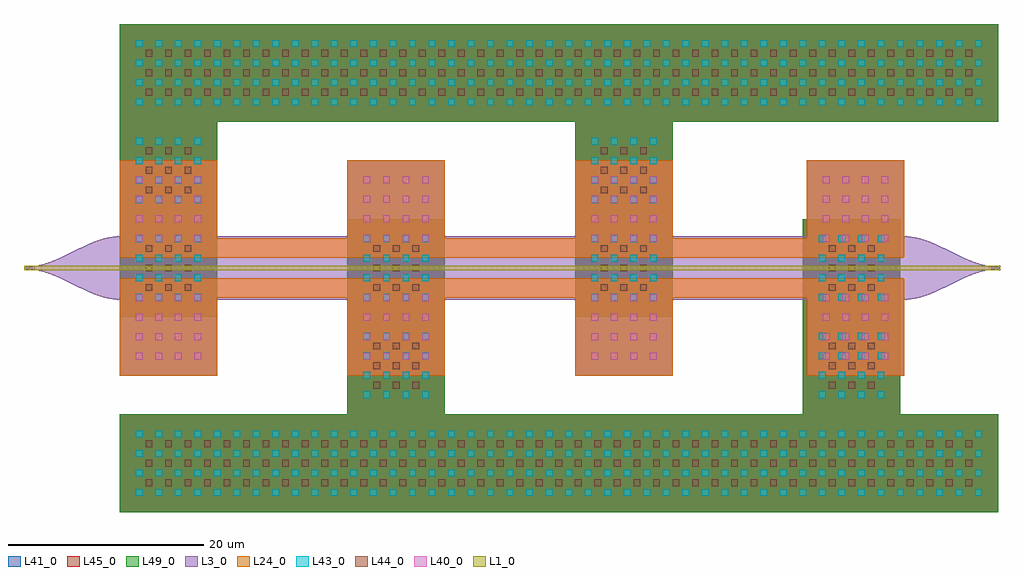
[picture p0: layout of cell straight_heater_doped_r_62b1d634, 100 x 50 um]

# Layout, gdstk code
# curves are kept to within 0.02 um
import gdstk
lib = gdstk.Library(unit=1e-6, precision=1e-09)
def R(c, l, rs):  # rectangles x0, y0, x1, y1
    for r in rs: c.add(gdstk.rectangle(r[:2], r[2:], *l))
def A(c, l, x, y, w, h, nx, ny, dx, dy):  # array of equal rectangles
    R(c, l, [(x+i*dx, y+j*dy, x+i*dx+w, y+j*dy+h) for i in range(nx) for j in range(ny)])
def P(c, l, *ps):  # polygons
    for p in ps: c.add(gdstk.Polygon(p, *l))
L1_0 = (1, 0)
L3_0 = (3, 0)
L24_0 = (24, 0)
L40_0 = (40, 0)
L41_0 = (41, 0)
L43_0 = (43, 0)
L44_0 = (44, 0)
L45_0 = (45, 0)
L49_0 = (49, 0)

straight_heater_doped_r_ = lib.new_cell('straight_heater_doped_r_62b1d634')
R(straight_heater_doped_r_, L1_0, [(-10,-0.25,90,0.25)])
P(straight_heater_doped_r_, L3_0, [(-0.2,-11.05),(-0.2,-3.247),(-0.808,-3.2),(-1.313,-3.118),(-1.919,-2.972),(-2.626,-2.744),(-3.838,-2.237),(-6.566,-0.931),(-7.778,-0.468),(-8.889,-0.195),(-9.394,-0.128),(-10,-0.1),(-10,0.1),(-9.394,0.128),(-8.687,0.232),(-7.98,0.407),(-7.172,0.682),(-5.96,1.207),(-3.636,2.329),(-2.424,2.815),(-1.313,3.118),(-0.808,3.2),(-0.2,3.247),(-0.2,11.05),(9.8,11.05),(9.8,3.25),(23.133,3.25),(23.133,11.05),(33.133,11.05),(33.133,3.25),(46.466,3.25),(46.466,11.05),(56.466,11.05),(56.466,3.25),(70.199,3.25),(70.199,11.05),(80.199,11.05),(80.199,3.247),(80.808,3.2),(81.313,3.118),(81.919,2.972),(82.626,2.744),(83.838,2.237),(86.566,0.931),(87.778,0.468),(88.889,0.195),(89.394,0.128),(90,0.1),(90,-0.1),(89.394,-0.128),(88.687,-0.232),(87.98,-0.407),(87.172,-0.682),(85.96,-1.207),(83.636,-2.329),(82.424,-2.815),(81.313,-3.118),(80.808,-3.2),(80.199,-3.247),(80.199,-11.05),(70.199,-11.05),(70.199,-3.25),(56.466,-3.25),(56.466,-11.05),(46.466,-11.05),(46.466,-3.25),(33.133,-3.25),(33.133,-11.05),(23.133,-11.05),(23.133,-3.25),(9.8,-3.25),(9.8,-11.05)])
P(straight_heater_doped_r_, L24_0, [(-0.2,-11.05),(-0.2,-1.05),(80.199,-1.05),(80.199,-11.05),(70.199,-11.05),(70.199,-3.05),(56.466,-3.05),(56.466,-11.05),(46.466,-11.05),(46.466,-3.05),(33.133,-3.05),(33.133,-11.05),(23.133,-11.05),(23.133,-3.05),(9.8,-3.05),(9.8,-11.05)],
  [(-0.2,1.05),(-0.2,11.05),(9.8,11.05),(9.8,3.05),(23.133,3.05),(23.133,11.05),(33.133,11.05),(33.133,3.05),(46.466,3.05),(46.466,11.05),(56.466,11.05),(56.466,3.05),(70.199,3.05),(70.199,11.05),(80.199,11.05),(80.199,1.05)])
A(straight_heater_doped_r_, L40_0, 1.45, -9.4, 0.7, 0.7, 4, 4, 2, 2)
A(straight_heater_doped_r_, L40_0, 24.783, -9.4, 0.7, 0.7, 4, 4, 2, 2)
A(straight_heater_doped_r_, L40_0, 48.116, -9.4, 0.7, 0.7, 4, 4, 2, 2)
A(straight_heater_doped_r_, L40_0, 71.849, -9.4, 0.7, 0.7, 4, 4, 2, 2)
A(straight_heater_doped_r_, L40_0, 1.45, 2.7, 0.7, 0.7, 4, 4, 2, 2)
A(straight_heater_doped_r_, L40_0, 24.783, 2.7, 0.7, 0.7, 4, 4, 2, 2)
A(straight_heater_doped_r_, L40_0, 48.116, 2.7, 0.7, 0.7, 4, 4, 2, 2)
A(straight_heater_doped_r_, L40_0, 71.849, 2.7, 0.7, 0.7, 4, 4, 2, 2)
P(straight_heater_doped_r_, L41_0, [(-0.2,-25),(-0.2,-15),(23.133,-15),(23.133,11.05),(33.133,11.05),(33.133,-15),(69.799,-15),(69.799,5),(70.199,5),(70.199,11.05),(80.199,11.05),(80.199,1.05),(79.799,1.05),(79.799,-1.05),(80.199,-1.05),(80.199,-11.05),(79.799,-11.05),(79.799,-15),(89.8,-15),(89.8,-25)],
  [(-0.2,-11.05),(-0.2,25),(89.8,25),(89.8,15),(56.466,15),(56.466,-11.05),(46.466,-11.05),(46.466,15),(9.8,15),(9.8,-11.05)])
A(straight_heater_doped_r_, L43_0, 1.45, -23.35, 0.7, 0.7, 44, 4, 2, 2)
A(straight_heater_doped_r_, L43_0, 24.783, -13.35, 0.7, 0.7, 4, 4, 2, 2)
A(straight_heater_doped_r_, L43_0, 71.449, -13.35, 0.7, 0.7, 4, 4, 2, 2)
A(straight_heater_doped_r_, L43_0, 1.45, -3.35, 0.7, 0.7, 4, 4, 2, 2)
A(straight_heater_doped_r_, L43_0, 24.783, -3.35, 0.7, 0.7, 4, 4, 2, 2)
A(straight_heater_doped_r_, L43_0, 48.116, -3.35, 0.7, 0.7, 4, 4, 2, 2)
A(straight_heater_doped_r_, L43_0, 71.449, -3.35, 0.7, 0.7, 4, 4, 2, 2)
A(straight_heater_doped_r_, L43_0, 1.45, 6.65, 0.7, 0.7, 4, 4, 2, 2)
A(straight_heater_doped_r_, L43_0, 48.116, 6.65, 0.7, 0.7, 4, 4, 2, 2)
A(straight_heater_doped_r_, L43_0, 1.45, 16.65, 0.7, 0.7, 44, 4, 2, 2)
A(straight_heater_doped_r_, L44_0, 2.45, -22.35, 0.7, 0.7, 43, 3, 2, 2)
A(straight_heater_doped_r_, L44_0, 25.783, -12.35, 0.7, 0.7, 3, 3, 2, 2)
A(straight_heater_doped_r_, L44_0, 72.449, -12.35, 0.7, 0.7, 3, 3, 2, 2)
A(straight_heater_doped_r_, L44_0, 2.45, -2.35, 0.7, 0.7, 3, 3, 2, 2)
A(straight_heater_doped_r_, L44_0, 25.783, -2.35, 0.7, 0.7, 3, 3, 2, 2)
A(straight_heater_doped_r_, L44_0, 49.116, -2.35, 0.7, 0.7, 3, 3, 2, 2)
A(straight_heater_doped_r_, L44_0, 72.449, -2.35, 0.7, 0.7, 3, 3, 2, 2)
A(straight_heater_doped_r_, L44_0, 2.45, 7.65, 0.7, 0.7, 3, 3, 2, 2)
A(straight_heater_doped_r_, L44_0, 49.116, 7.65, 0.7, 0.7, 3, 3, 2, 2)
A(straight_heater_doped_r_, L44_0, 2.45, 17.65, 0.7, 0.7, 43, 3, 2, 2)
P(straight_heater_doped_r_, L45_0, [(-0.2,-25),(-0.2,-15),(23.133,-15),(23.133,5),(33.133,5),(33.133,-15),(69.799,-15),(69.799,5),(79.799,5),(79.799,-15),(89.8,-15),(89.8,-25)],
  [(-0.2,-5),(-0.2,25),(89.8,25),(89.8,15),(56.466,15),(56.466,-5),(46.466,-5),(46.466,15),(9.8,15),(9.8,-5)])
P(straight_heater_doped_r_, L49_0, [(-0.2,-25),(-0.2,-15),(23.133,-15),(23.133,5),(33.133,5),(33.133,-15),(69.799,-15),(69.799,5),(79.799,5),(79.799,-15),(89.8,-15),(89.8,-25)],
  [(-0.2,-5),(-0.2,25),(89.8,25),(89.8,15),(56.466,15),(56.466,-5),(46.466,-5),(46.466,15),(9.8,15),(9.8,-5)])

lib.write_gds('straight_heater_doped_r_62b1d634.gds')
